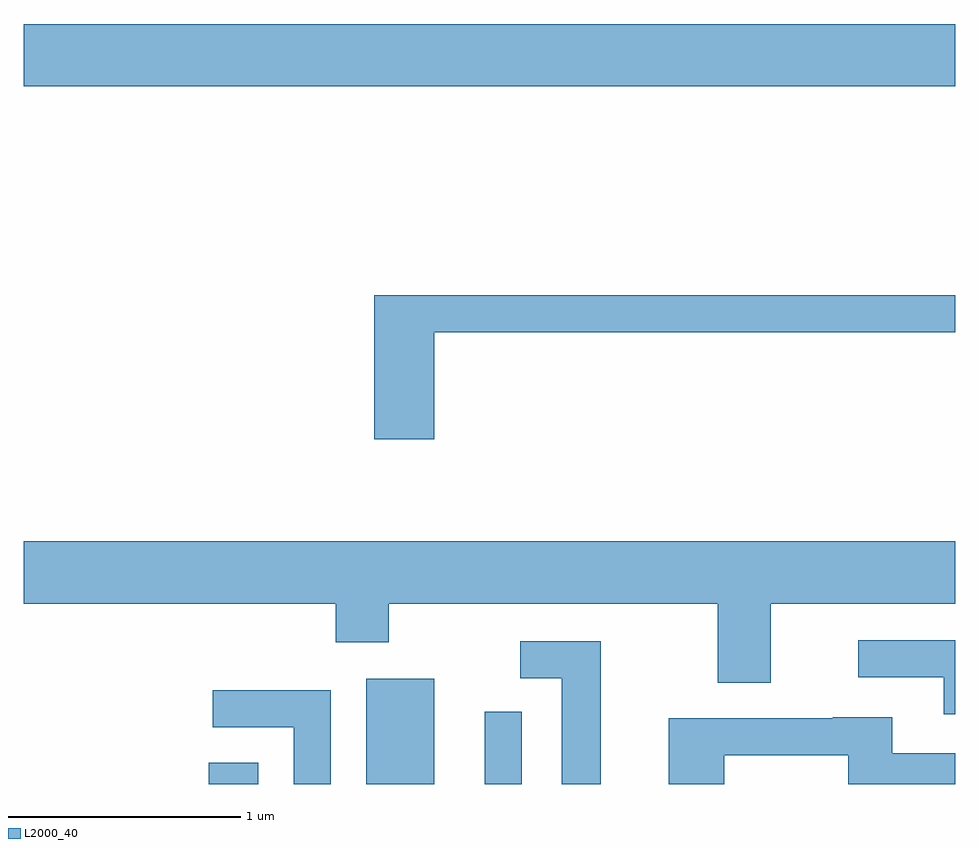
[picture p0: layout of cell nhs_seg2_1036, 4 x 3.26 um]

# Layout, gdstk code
import gdstk
lib = gdstk.Library(unit=1e-6, precision=1e-09)
def R(c, l, rs):  # rectangles x0, y0, x1, y1
    for r in rs: c.add(gdstk.rectangle(r[:2], r[2:], *l))
def P(c, l, *ps):  # polygons
    for p in ps: c.add(gdstk.Polygon(p, *l))
L2000_40 = (2000, 40)

nhs_seg2_1036 = lib.new_cell('nhs_seg2_1036')
R(nhs_seg2_1036, L2000_40, [(216.406,1009.802,216.619,1009.894), (217.081,1009.802,217.374,1010.254), (217.591,1009.802,217.749,1010.113), (215.611,1012.796,219.611,1013.064)])
P(nhs_seg2_1036, L2000_40, [(217.374,1011.741),(219.611,1011.741),(219.611,1011.899),(217.116,1011.899),(217.116,1011.281),(217.374,1011.281)],
  [(218.819,1010.576),(219.611,1010.576),(219.611,1010.844),(215.611,1010.844),(215.611,1010.576),(216.951,1010.576),(216.951,1010.411),(217.179,1010.411),(217.179,1010.576),(218.591,1010.576),(218.591,1010.236),(218.819,1010.236)],
  [(219.611,1010.419),(219.193,1010.419),(219.193,1010.261),(219.561,1010.261),(219.561,1010.101),(219.611,1010.101)],
  [(218.089,1010.414),(217.743,1010.414),(217.743,1010.256),(217.921,1010.256),(217.921,1009.802),(218.089,1009.802)],
  [(216.929,1010.204),(216.423,1010.204),(216.423,1010.046),(216.771,1010.046),(216.771,1009.802),(216.929,1009.802)],
  [(218.619,1009.926),(219.151,1009.926),(219.151,1009.802),(219.611,1009.802),(219.611,1009.934),(219.339,1009.934),(219.339,1010.089),(219.085,1010.089),(219.085,1010.084),(218.381,1010.084),(218.381,1009.802),(218.619,1009.802)])

lib.write_gds('nhs_seg2_1036.gds')
